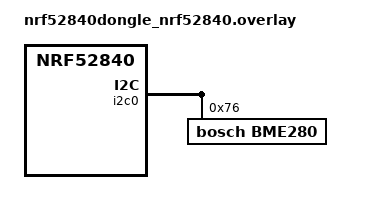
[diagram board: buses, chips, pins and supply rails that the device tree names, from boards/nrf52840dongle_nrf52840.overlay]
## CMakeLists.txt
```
# SPDX-License-Identifier: Apache-2.0

cmake_minimum_required(VERSION 3.20.0)

find_package(Zephyr REQUIRED HINTS $ENV{ZEPHYR_BASE})
project(ot_coap_bme280)

target_sources(app PRIVATE src/main.c)
```

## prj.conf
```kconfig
#
# Copyright (c) 2024 Koen Vervloesem
#
# SPDX-License-Identifier: Apache-2.0
#

# Enable networking and OpenThread
CONFIG_NETWORKING=y
CONFIG_NET_IPV6_NBR_CACHE=n
CONFIG_NET_IPV6_MLD=n
CONFIG_NET_L2_OPENTHREAD=y
CONFIG_OPENTHREAD_THREAD_VERSION_1_3=y
CONFIG_OPENTHREAD_SLAAC=y
CONFIG_OPENTHREAD_PING_SENDER=y
CONFIG_OPENTHREAD_COAP=y

# Kernel options
CONFIG_MAIN_STACK_SIZE=2560

# Enable logging
CONFIG_LOG=y
CONFIG_NET_LOG=y

# Enable Network and OpenThread shell commands over USB
CONFIG_SHELL=y
CONFIG_NET_SHELL=y
CONFIG_OPENTHREAD_SHELL=y
CONFIG_USB_DEVICE_INITIALIZE_AT_BOOT=y

# Enable sensor subsystem
CONFIG_SENSOR=y
```

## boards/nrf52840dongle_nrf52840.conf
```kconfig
#
# Copyright (c) 2023 Nordic Semiconductor
#
# SPDX-License-Identifier: LicenseRef-Nordic-5-Clause
#

CONFIG_SHELL_BACKEND_SERIAL_INIT_PRIORITY=51

CONFIG_USB_CDC_ACM_LOG_LEVEL_OFF=y

CONFIG_USB_DEVICE_MANUFACTURER="Nordic Semiconductor ASA"
CONFIG_USB_DEVICE_PRODUCT="Thread CoAP BME280"
CONFIG_USB_DEVICE_VID=0x1915
CONFIG_USB_DEVICE_PID=0x0000
```

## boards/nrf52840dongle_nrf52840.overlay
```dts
/*
 * Copyright (c) 2024 Koen Vervloesem <koen@vervloesem.eu>
 *
 * SPDX-License-Identifier: MIT
 */

/*
 * Configuration of a BME280 device on an I2C bus.
 *
 * Device address 0x76 is assumed. Your device may have a different
 * address; check your device documentation if unsure.
 */
&pinctrl {
        i2c0_default: i2c0_default {
                group1 {
                        psels = <NRF_PSEL(TWIM_SDA, 0, 31)>,
                                <NRF_PSEL(TWIM_SCL, 0, 29)>;
                };
        };

        i2c0_sleep: i2c0_sleep {
                group1 {
                        psels = <NRF_PSEL(TWIM_SDA, 0, 31)>,
                                <NRF_PSEL(TWIM_SCL, 0, 29)>;
                        low-power-enable;
                };
        };
};

&i2c0 {
    status = "okay";
    bme280@76 {
        compatible = "bosch,bme280";
        reg = <0x76>;
    };
};
```

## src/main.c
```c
/*
 * Copyright (c) 2024 Koen Vervloesem
 *
 * SPDX-License-Identifier: Apache-2.0
 */

#include <openthread/coap.h>
#include <openthread/thread.h>
#include <zephyr/drivers/sensor.h>
#include <zephyr/logging/log.h>
#include <zephyr/net/openthread.h>

LOG_MODULE_REGISTER(ot_coap_bme280, LOG_LEVEL_DBG);

#define SEND_TO_ADDR "ff03::1"

static void send_sensor_request(const struct device *dev) {
  char json_buf[100];
  otError error = OT_ERROR_NONE;
  otInstance *p_instance = openthread_get_default_instance();
  otMessage *p_message;
  otMessageInfo message_info;
  otExtAddress eui64;
  char eui64_id[25] = "\0";
  char buf[3];
  struct sensor_value temp, press, hum;

  otPlatRadioGetIeeeEui64(p_instance, eui64.m8);
  for (uint8_t i = 0; i < 8; i++) {
    snprintk(buf, sizeof(buf), "%02X", eui64.m8[i]);
    strcat(eui64_id, buf);
  }

  memset(&message_info, 0, sizeof(message_info));
  otIp6AddressFromString(SEND_TO_ADDR, &message_info.mPeerAddr);
  message_info.mPeerPort = OT_DEFAULT_COAP_PORT;

  sensor_sample_fetch(dev);
  sensor_channel_get(dev, SENSOR_CHAN_AMBIENT_TEMP, &temp);
  sensor_channel_get(dev, SENSOR_CHAN_PRESS, &press);
  sensor_channel_get(dev, SENSOR_CHAN_HUMIDITY, &hum);

  // Convert sensor values to °C, hPa, and % with 2 decimal places
  snprintk(json_buf, sizeof(json_buf),
           "{\"id\":\"%s\",\"temp\":%.2f,\"press\":%.2f,\"hum\":%.2f}",
           eui64_id, temp.val1 + temp.val2 / 1000000.0,
           press.val1 * 10.0 + press.val2 / 100000.0,
           hum.val1 + hum.val2 / 1000000.0);
  LOG_INF("JSON message: %s", json_buf);

  p_message = otCoapNewMessage(p_instance, NULL);
  if (p_message == NULL) {
    LOG_ERR("Failed to create message for CoAP Request");
    return;
  }

  otCoapMessageInit(p_message, OT_COAP_TYPE_NON_CONFIRMABLE, OT_COAP_CODE_PUT);

  error = otCoapMessageAppendUriPathOptions(p_message, "sensor");
  if (error != OT_ERROR_NONE) {
    LOG_ERR("Failed to append Uri-Path option for CoAP Request: %s",
            otThreadErrorToString(error));
    otMessageFree(p_message);
    return;
  }

  error = otCoapMessageAppendContentFormatOption(
      p_message, OT_COAP_OPTION_CONTENT_FORMAT_JSON);
  if (error != OT_ERROR_NONE) {
    LOG_ERR("Failed to append content format option for CoAP Request: %s",
            otThreadErrorToString(error));
    otMessageFree(p_message);
    return;
  }

  error = otCoapMessageSetPayloadMarker(p_message);
  if (error != OT_ERROR_NONE) {
    LOG_ERR("Failed to set payload marker for CoAP Request: %s",
            otThreadErrorToString(error));
    otMessageFree(p_message);
    return;
  }

  error = otMessageAppend(p_message, json_buf, strlen(json_buf));
  if (error != OT_ERROR_NONE) {
    LOG_ERR("Failed to append to CoAP Request message: %s",
            otThreadErrorToString(error));
    otMessageFree(p_message);
    return;
  }

  error = otCoapSendRequest(p_instance, p_message, &message_info, NULL, NULL);
  if (error != OT_ERROR_NONE) {
    LOG_ERR("Failed to send CoAP Request: %s", otThreadErrorToString(error));
    otMessageFree(p_message);
    return;
  }

  LOG_INF("CoAP data sent");
}

void init_coap(void) {
  otInstance *p_instance = openthread_get_default_instance();
  otError error = otCoapStart(p_instance, OT_DEFAULT_COAP_PORT);
  if (error != OT_ERROR_NONE) {
    LOG_ERR("Cannot initialize CoAP: %s", otThreadErrorToString(error));
  }
}

/*
 * Get a device structure from a devicetree node with compatible
 * "bosch,bme280". (If there are multiple, just pick one.)
 */
static const struct device *get_bme280_device(void) {
  const struct device *const dev = DEVICE_DT_GET_ANY(bosch_bme280);

  if (dev == NULL) {
    /* No such node, or the node does not have status "okay". */
    LOG_ERR("Error: no device found.");
    return NULL;
  }

  if (!device_is_ready(dev)) {
    LOG_ERR("Error: Device \"%s\" is not ready; "
            "check the driver initialization logs for errors.",
            dev->name);
    return NULL;
  }

  LOG_INF("Found device \"%s\", getting sensor data", dev->name);
  return dev;
}

int main(void) {
  init_coap();

  const struct device *dev = get_bme280_device();

  if (dev == NULL) {
    LOG_ERR("Cannot initialize BME280 sensor");
    return 0;
  }

  while (1) {
    k_sleep(K_MSEC(5000));
    send_sensor_request(dev);
  }
  return 0;
}
```
